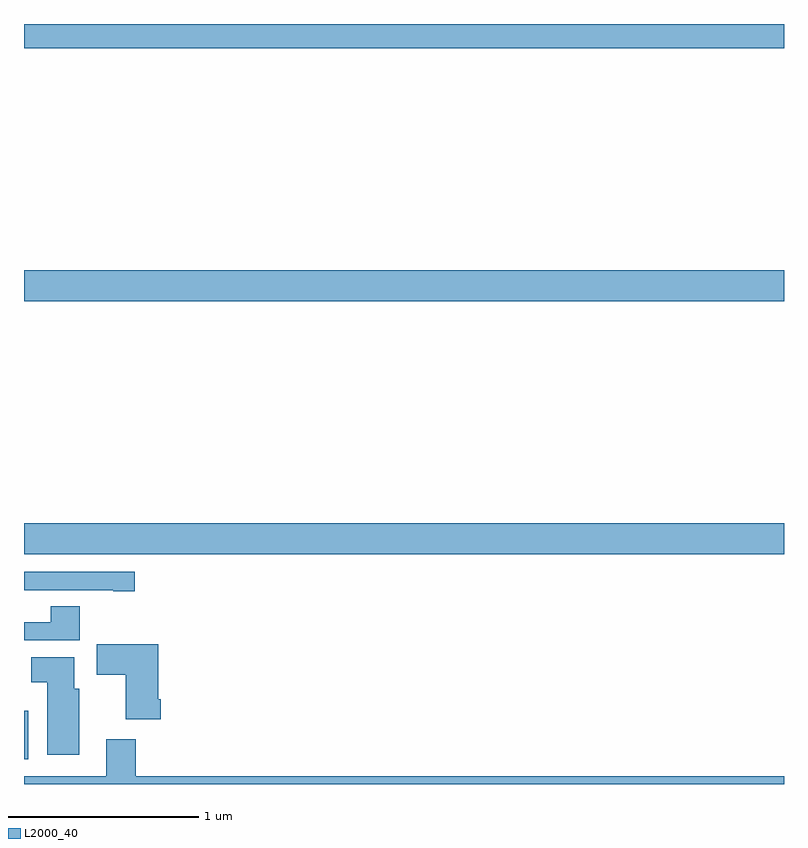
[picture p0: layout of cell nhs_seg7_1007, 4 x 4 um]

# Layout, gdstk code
import gdstk
lib = gdstk.Library(unit=1e-6, precision=1e-09)
def R(c, l, rs):  # rectangles x0, y0, x1, y1
    for r in rs: c.add(gdstk.rectangle(r[:2], r[2:], *l))
def P(c, l, *ps):  # polygons
    for p in ps: c.add(gdstk.Polygon(p, *l))
L2000_40 = (2000, 40)

nhs_seg7_1007 = lib.new_cell('nhs_seg7_1007')
R(nhs_seg7_1007, L2000_40, [(183,1074.131,183.022,1074.385), (183,1075.208,187,1075.372), (183,1076.54,187,1076.704), (183,1077.872,187,1078)])
P(nhs_seg7_1007, L2000_40, [(183.583,1075.116),(183,1075.116),(183,1075.02),(183.47,1075.02),(183.47,1075.015),(183.583,1075.015)],
  [(183.293,1074.935),(183.14,1074.935),(183.14,1074.852),(183,1074.852),(183,1074.756),(183.293,1074.756)],
  [(183.719,1074.445),(183.706,1074.445),(183.706,1074.736),(183.384,1074.736),(183.384,1074.574),(183.536,1074.574),(183.536,1074.341),(183.719,1074.341)],
  [(183.292,1074.501),(183.265,1074.501),(183.265,1074.667),(183.038,1074.667),(183.038,1074.536),(183.122,1074.536),(183.122,1074.153),(183.292,1074.153)],
  [(187,1074.04),(183.587,1074.04),(183.587,1074.235),(183.434,1074.235),(183.434,1074.04),(183,1074.04),(183,1074),(187,1074)])

lib.write_gds('nhs_seg7_1007.gds')
